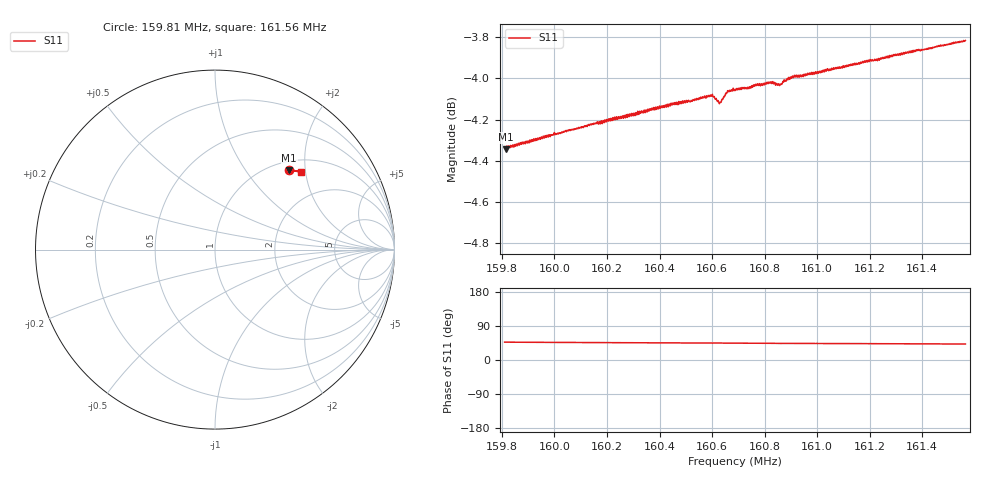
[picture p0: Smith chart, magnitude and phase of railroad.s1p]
! Calibrated averaged scanner-service zoom
# Hz S RI R 50
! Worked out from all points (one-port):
!   1001 points, 159.81 MHz to 161.56 MHz, reference 50 ohm
!   lowest |S11| = -4.3 dB at 159.82 MHz (marker M1), VSWR 4.08, Z = 58.4 + j82 ohm
!   |S11| at or under -10 dB: nowhere
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1.5981e8  0.4136 0.4443
1.598153e8  0.4132 0.444
1.600294e8  0.422 0.4433
1.601715e8  0.4285 0.4424
1.602488e8  0.431 0.4415
1.603435e8  0.4348 0.4415
1.603716e8  0.4364 0.4413
1.604681e8  0.4394 0.4407
1.605243e8  0.4411 0.4399
1.605927e8  0.444 0.4399
1.606068e8  0.4438 0.4394
1.606278e8  0.4418 0.438
1.606348e8  0.4424 0.4381
1.606594e8  0.4468 0.4394
1.606875e8  0.4478 0.439
1.607314e8  0.4488 0.4385
1.607577e8  0.4506 0.4384
1.60791e8  0.4509 0.4379
1.608244e8  0.4528 0.4377
1.608419e8  0.4523 0.4365
1.608595e8  0.4541 0.435
1.608858e8  0.4548 0.4372
1.609069e8  0.456 0.4374
1.610069e8  0.4588 0.4361
1.611262e8  0.4627 0.4357
1.613456e8  0.4701 0.4346
1.614018e8  0.4722 0.4337
1.61565e8  0.4778 0.4326
